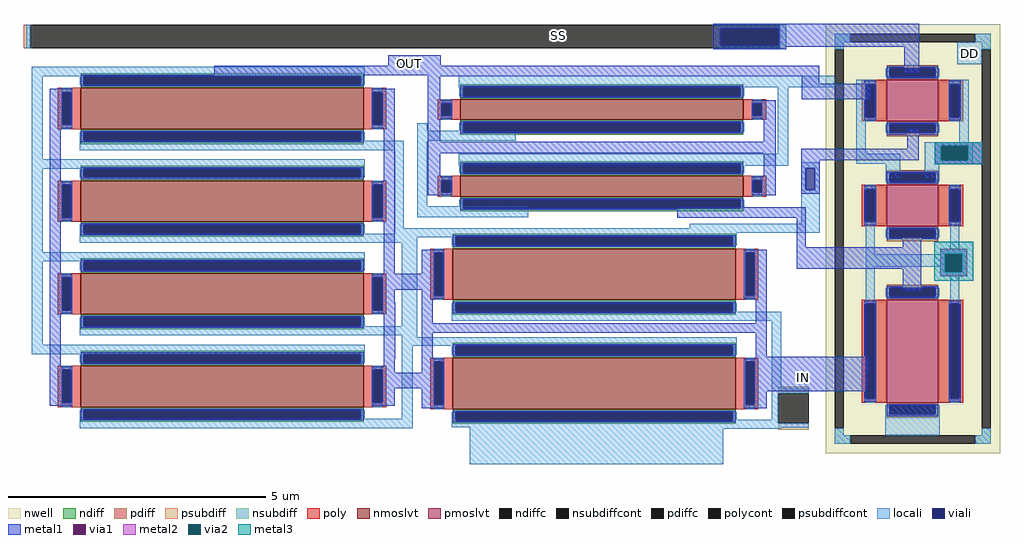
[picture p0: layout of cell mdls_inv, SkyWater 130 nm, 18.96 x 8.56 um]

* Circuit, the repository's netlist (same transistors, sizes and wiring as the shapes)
* NGSPICE file created from mdls_inv.ext - technology: sky130A


* Top level circuit mdls_inv

X0 OUT IN a_1466_1108# DD sky130_fd_pr__pfet_01v8_lvt ad=0.29 pd=2.58 as=0.29 ps=2.58 w=1 l=0.8
X1 a_1466_1108# IN DD DD sky130_fd_pr__pfet_01v8_lvt ad=0.29 pd=2.58 as=0.29 ps=2.58 w=1 l=2
X2 DD OUT a_1466_1108# SS sky130_fd_pr__nfet_01v8_lvt ad=1.6 pd=11.6 as=1.6 ps=11.6 w=5.5 l=0.4
X3 OUT IN a_n10_290# SS sky130_fd_pr__nfet_01v8_lvt ad=1.6 pd=11.6 as=1.6 ps=11.6 w=5.5 l=0.8
X4 OUT IN a_n10_290# SS sky130_fd_pr__nfet_01v8_lvt ad=1.6 pd=11.6 as=1.6 ps=11.6 w=5.5 l=0.8
X5 a_n10_290# IN SS SS sky130_fd_pr__nfet_01v8_lvt ad=1.6 pd=11.6 as=1.6 ps=11.6 w=5.5 l=1
X6 SS OUT a_n10_290# DD sky130_fd_pr__pfet_01v8_lvt ad=0.29 pd=2.58 as=0.29 ps=2.58 w=1 l=0.8
X7 OUT IN a_n10_290# SS sky130_fd_pr__nfet_01v8_lvt ad=1.6 pd=11.6 as=1.6 ps=11.6 w=5.5 l=0.8
X8 OUT IN a_n10_290# SS sky130_fd_pr__nfet_01v8_lvt ad=1.6 pd=11.6 as=1.6 ps=11.6 w=5.5 l=0.8
X9 DD OUT a_1466_1108# SS sky130_fd_pr__nfet_01v8_lvt ad=1.6 pd=11.6 as=1.6 ps=11.6 w=5.5 l=0.4
X10 a_n10_290# IN SS SS sky130_fd_pr__nfet_01v8_lvt ad=1.6 pd=11.6 as=1.6 ps=11.6 w=5.5 l=1
.end

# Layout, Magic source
magic
tech sky130A
magscale 1 2
<< nwell >>
rect 2885 169 3563 1835
<< psubdiff >>
rect -230 1743 -206 1833
rect 2708 1743 2732 1833
rect 2701 402 2819 426
rect 2701 260 2819 284
<< nsubdiff >>
rect 2921 1765 2981 1799
rect 3467 1765 3527 1799
rect 2921 1739 2955 1765
rect 2921 239 2955 265
rect 3493 1739 3527 1765
rect 3493 239 3527 265
rect 2921 205 2981 239
rect 3467 205 3527 239
<< psubdiffcont >>
rect -206 1743 2708 1833
rect 2701 284 2819 402
<< nsubdiffcont >>
rect 2981 1765 3467 1799
rect 2921 265 2955 1739
rect 3493 265 3527 1739
rect 2981 205 3467 239
<< locali >>
rect 2448 1833 2732 1838
rect -222 1743 -206 1833
rect 2708 1743 2732 1833
rect 2448 1738 2732 1743
rect 2921 1765 2981 1799
rect 3467 1765 3527 1799
rect 2921 1739 2955 1765
rect -200 1634 1094 1670
rect -200 1310 -158 1634
rect 1460 1590 2921 1636
rect 1298 1422 1338 1450
rect 1298 1382 1682 1422
rect -14 1346 1246 1382
rect -200 1274 1094 1310
rect -200 950 -158 1274
rect 1210 1042 1246 1346
rect 1298 1128 1338 1382
rect 2700 1332 2740 1590
rect 1460 1286 2740 1332
rect 2790 1275 2862 1299
rect 2790 1192 2808 1275
rect 2843 1192 2862 1275
rect 1298 1086 1730 1128
rect 2790 1061 2862 1192
rect 2358 1042 2862 1061
rect 1210 1025 2862 1042
rect 1210 1022 2540 1025
rect -14 1008 2540 1022
rect -14 986 1298 1008
rect -200 914 1094 950
rect -200 590 -158 914
rect 1238 662 1298 986
rect 1432 684 2712 718
rect -14 626 1298 662
rect 1238 620 1298 626
rect -200 554 1094 590
rect 1238 586 2540 620
rect 1238 302 1280 586
rect -14 266 1280 302
rect 2676 418 2712 684
rect 2676 402 2819 418
rect 2676 298 2701 402
rect 2536 294 2701 298
rect 1432 284 2701 294
rect 1432 269 2819 284
rect 1502 268 2819 269
rect 1502 264 2712 268
rect 3396 1739 3527 1765
rect 3396 1681 3493 1739
rect 3004 1333 3042 1619
rect 3404 1377 3441 1619
rect 3270 1355 3457 1377
rect 3004 1294 3175 1333
rect 3119 1238 3175 1294
rect 3270 1307 3334 1355
rect 3431 1307 3457 1355
rect 3270 1292 3457 1307
rect 3271 1238 3327 1292
rect 3042 941 3076 1051
rect 3370 964 3404 1051
rect 3331 942 3436 964
rect 3331 941 3351 942
rect 3042 893 3351 941
rect 3042 765 3076 893
rect 3331 874 3351 893
rect 3414 874 3436 942
rect 3331 857 3436 874
rect 3370 765 3404 857
rect 1502 125 2488 264
rect 2921 239 2955 265
rect 3118 239 3328 354
rect 3493 239 3527 265
rect 2921 205 2981 239
rect 3467 205 3527 239
<< viali >>
rect 2476 1751 2703 1820
rect 2808 1192 2843 1275
rect 3334 1307 3431 1355
rect 3351 874 3414 942
<< metal1 >>
rect 2448 1837 2732 1838
rect 2448 1820 3249 1837
rect 2448 1751 2476 1820
rect 2703 1751 3249 1820
rect 2448 1748 3249 1751
rect 2448 1738 2732 1748
rect 1185 1674 1390 1716
rect 510 1638 2861 1674
rect 3190 1647 3249 1748
rect 1340 1634 2861 1638
rect -130 352 -88 1584
rect 1168 866 1210 1584
rect 1340 1378 1388 1634
rect 2793 1605 2861 1634
rect 2793 1545 3061 1605
rect 2793 1544 2861 1545
rect 2644 1378 2692 1540
rect 1340 1334 2692 1378
rect 3203 1352 3247 1430
rect 1340 1170 1388 1334
rect 2644 1170 2692 1334
rect 2790 1307 3247 1352
rect 3309 1359 3496 1377
rect 3309 1307 3334 1359
rect 3432 1307 3496 1359
rect 2790 1275 2862 1307
rect 3309 1292 3496 1307
rect 2790 1192 2808 1275
rect 2843 1192 2862 1275
rect 2790 1176 2862 1192
rect 2309 1084 2809 1125
rect 2774 969 2809 1084
rect 3186 969 3256 1007
rect 1316 866 1358 960
rect 1168 804 1358 866
rect 1168 756 1210 804
rect 1168 536 1212 756
rect 1316 674 1358 804
rect 2614 674 2656 960
rect 2774 885 3256 969
rect 3186 800 3256 885
rect 3331 942 3436 964
rect 3331 874 3351 942
rect 3414 874 3436 942
rect 3331 857 3436 874
rect 1316 636 2656 674
rect 1168 482 1210 536
rect 1316 482 1358 636
rect 1168 420 1358 482
rect 1168 352 1210 420
rect 1316 344 1358 420
rect 2614 543 2656 636
rect 2614 486 3052 543
rect 2614 410 3048 486
rect 2614 344 2656 410
<< via1 >>
rect 3334 1355 3432 1359
rect 3334 1307 3431 1355
rect 3431 1307 3432 1355
rect 3351 874 3414 942
<< metal2 >>
rect 3309 1363 3496 1377
rect 3309 1307 3334 1363
rect 3437 1307 3496 1363
rect 3309 1292 3496 1307
rect 3331 942 3436 964
rect 3331 874 3351 942
rect 3414 874 3436 942
rect 3331 857 3436 874
<< via2 >>
rect 3334 1359 3437 1363
rect 3334 1307 3432 1359
rect 3432 1307 3437 1359
rect 3351 874 3414 942
<< metal3 >>
rect 3309 1363 3496 1377
rect 3309 1307 3334 1363
rect 3437 1307 3496 1363
rect 3309 1292 3496 1307
rect 3307 942 3460 990
rect 3307 874 3351 942
rect 3414 874 3460 942
rect 3307 839 3460 874
use sky130_fd_pr__nfet_01v8_lvt_62AYNZ  sky130_fd_pr__nfet_01v8_lvt_62AYNZ_0
transform 0 1 1986 -1 0 864
box -158 -638 158 638
use sky130_fd_pr__nfet_01v8_lvt_62AYNZ  sky130_fd_pr__nfet_01v8_lvt_62AYNZ_1
transform 0 1 1986 -1 0 440
box -158 -638 158 638
use sky130_fd_pr__nfet_01v8_lvt_P9XYHJ  sky130_fd_pr__nfet_01v8_lvt_P9XYHJ_4
transform 0 -1 540 1 0 1508
box -138 -638 138 638
use sky130_fd_pr__nfet_01v8_lvt_P9XYHJ  sky130_fd_pr__nfet_01v8_lvt_P9XYHJ_5
transform 0 -1 540 1 0 1148
box -138 -638 138 638
use sky130_fd_pr__nfet_01v8_lvt_P9XYHJ  sky130_fd_pr__nfet_01v8_lvt_P9XYHJ_6
transform 0 -1 540 1 0 788
box -138 -638 138 638
use sky130_fd_pr__nfet_01v8_lvt_P9XYHJ  sky130_fd_pr__nfet_01v8_lvt_P9XYHJ_7
transform 0 -1 540 1 0 428
box -138 -638 138 638
use sky130_fd_pr__nfet_01v8_lvt_P34KHJ  sky130_fd_pr__nfet_01v8_lvt_P34KHJ_0
transform 0 -1 2016 -1 0 1206
box -98 -638 98 638
use sky130_fd_pr__nfet_01v8_lvt_P34KHJ  sky130_fd_pr__nfet_01v8_lvt_P34KHJ_1
transform 0 -1 2016 -1 0 1504
box -98 -638 98 638
use sky130_fd_pr__pfet_01v8_lvt_G2G9KE  sky130_fd_pr__pfet_01v8_lvt_G2G9KE_0
transform 0 -1 3223 1 0 1131
box -174 -200 174 200
use sky130_fd_pr__pfet_01v8_lvt_G2G9KE  sky130_fd_pr__pfet_01v8_lvt_G2G9KE_1
transform 0 -1 3223 1 0 1539
box -174 -200 174 200
use sky130_fd_pr__pfet_01v8_lvt_NCVK88  sky130_fd_pr__pfet_01v8_lvt_NCVK88_0
transform 0 1 3223 -1 0 565
box -294 -200 294 200
<< labels >>
rlabel metal1 2763 429 2838 493 3 IN
rlabel locali 1811 1758 1886 1822 3 SS
rlabel locali 3425 1704 3463 1738 3 DD
rlabel metal1 1248 1664 1292 1703 3 OUT
<< end >>

# cell sky130_fd_pr__nfet_01v8_lvt_62AYNZ: kit device sky130_fd_pr__nfet_01v8_lvt, w 5.5 l 1 m 1 nf 1 diffcov 100 polycov 100 guard 0 glc 0 grc 0 gtc 0 gbc 0 tbcov 100 rlcov 100 topc 1 botc 1 poverlap 0 doverlap 1 lmin 0.15 wmin 0.42 compatible {sky130_fd_pr__nfet_01v8 sky130_fd_pr__nfet_01v8_lvt sky130_fd_bs_flash__special_sonosfet_star sky130_fd_pr__nfet_g5v0d10v5 sky130_fd_pr__nfet_05v0_nvt sky130_fd_pr__nfet_03v3_nvt} full_metal 0 viasrc 100 viadrn 100 viagate 100 viagb 0 viagr 0 viagl 0 viagt 0

# cell sky130_fd_pr__nfet_01v8_lvt_P9XYHJ: kit device sky130_fd_pr__nfet_01v8_lvt, w 5.5 l 0.8 m 1 nf 1 diffcov 100 polycov 100 guard 0 glc 0 grc 0 gtc 0 gbc 0 tbcov 100 rlcov 100 topc 1 botc 1 poverlap 0 doverlap 1 lmin 0.15 wmin 0.42 compatible {sky130_fd_pr__nfet_01v8 sky130_fd_pr__nfet_01v8_lvt sky130_fd_bs_flash__special_sonosfet_star sky130_fd_pr__nfet_g5v0d10v5 sky130_fd_pr__nfet_05v0_nvt sky130_fd_pr__nfet_03v3_nvt} full_metal 0 viasrc 100 viadrn 100 viagate 100 viagb 0 viagr 0 viagl 0 viagt 0

# cell sky130_fd_pr__nfet_01v8_lvt_P34KHJ: kit device sky130_fd_pr__nfet_01v8_lvt, w 5.5 l 0.4 m 1 nf 1 diffcov 100 polycov 100 guard 0 glc 0 grc 0 gtc 0 gbc 0 tbcov 100 rlcov 100 topc 1 botc 1 poverlap 0 doverlap 1 lmin 0.15 wmin 0.42 compatible {sky130_fd_pr__nfet_01v8 sky130_fd_pr__nfet_01v8_lvt sky130_fd_bs_flash__special_sonosfet_star sky130_fd_pr__nfet_g5v0d10v5 sky130_fd_pr__nfet_05v0_nvt sky130_fd_pr__nfet_03v3_nvt} full_metal 0 viasrc 100 viadrn 100 viagate 100 viagb 0 viagr 0 viagl 0 viagt 0

# cell sky130_fd_pr__pfet_01v8_lvt_G2G9KE: kit device sky130_fd_pr__pfet_01v8_lvt, w 1 l 0.8 m 1 nf 1 diffcov 100 polycov 100 guard 0 glc 0 grc 0 gtc 0 gbc 0 tbcov 100 rlcov 100 topc 1 botc 1 poverlap 0 doverlap 1 lmin 0.35 wmin 0.42 compatible {sky130_fd_pr__pfet_01v8 sky130_fd_pr__pfet_01v8_lvt sky130_fd_pr__pfet_01v8_hvt sky130_fd_pr__pfet_g5v0d10v5} full_metal 0 viasrc 100 viadrn 100 viagate 100 viagb 0 viagr 0 viagl 0 viagt 0

# cell sky130_fd_pr__pfet_01v8_lvt_NCVK88: kit device sky130_fd_pr__pfet_01v8_lvt, w 1 l 2 m 1 nf 1 diffcov 100 polycov 100 guard 0 glc 0 grc 0 gtc 0 gbc 0 tbcov 100 rlcov 100 topc 1 botc 1 poverlap 0 doverlap 1 lmin 0.35 wmin 0.42 compatible {sky130_fd_pr__pfet_01v8 sky130_fd_pr__pfet_01v8_lvt sky130_fd_pr__pfet_01v8_hvt sky130_fd_pr__pfet_g5v0d10v5} full_metal 0 viasrc 100 viadrn 100 viagate 100 viagb 0 viagr 0 viagl 0 viagt 0
